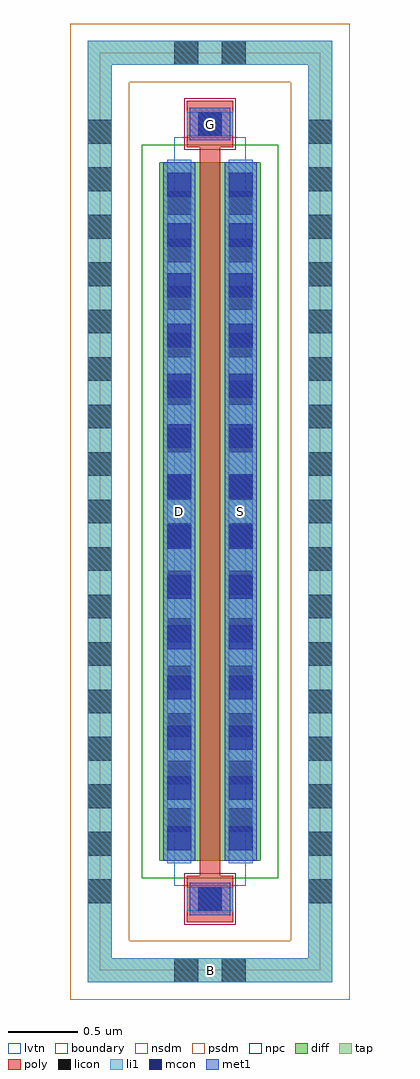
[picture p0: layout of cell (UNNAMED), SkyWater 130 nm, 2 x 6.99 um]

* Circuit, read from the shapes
.subckt (UNNAMED) B D G S
XM1 S G D B sky130_fd_pr__nfet_01v8_lvt w=5 l=0.15
.ends

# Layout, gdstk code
import gdstk
lib = gdstk.Library(unit=1e-6, precision=1e-09)
def R(c, l, rs):  # rectangles x0, y0, x1, y1
    for r in rs: c.add(gdstk.rectangle(r[:2], r[2:], *l))
def A(c, l, x, y, w, h, nx, ny, dx, dy):  # array of equal rectangles
    R(c, l, [(x+i*dx, y+j*dy, x+i*dx+w, y+j*dy+h) for i in range(nx) for j in range(ny)])
diff = (65, 20)
tap = (65, 44)
poly = (66, 20)
licon = (66, 44)
li1 = (67, 20)
mcon = (67, 44)
met1 = (68, 20)
nsdm = (93, 44)
psdm = (94, 20)
npc = (95, 20)
lvtn = (125, 44)
boundary = (235, 4)

c__unnamed_ = lib.new_cell('(UNNAMED)')
R(c__unnamed_, diff, [(-0.365,-2.5,0.365,2.5)])
R(c__unnamed_, tap, [(-0.875,-3.37,0.875,-3.2), (-0.875,-3.2,-0.705,3.2), (0.705,-3.2,0.875,3.2), (-0.875,3.2,0.875,3.37)])
R(c__unnamed_, poly, [(-0.165,-2.94,0.165,-2.61), (-0.075,-2.61,0.075,2.61), (-0.165,2.61,0.165,2.94)])
A(c__unnamed_, licon, -0.875, -2.805, 0.17, 0.17, 1, 17, 0, 0.34)
A(c__unnamed_, licon, 0.705, -2.805, 0.17, 0.17, 1, 17, 0, 0.34)
A(c__unnamed_, licon, -0.305, -2.295, 0.17, 0.17, 1, 14, 0, 0.34)
A(c__unnamed_, licon, 0.135, -2.295, 0.17, 0.17, 1, 14, 0, 0.34)
R(c__unnamed_, licon, [(-0.255,-3.37,-0.085,-3.2), (0.085,-3.37,0.255,-3.2), (-0.085,-2.86,0.085,-2.69), (-0.085,2.69,0.085,2.86), (-0.255,3.2,-0.085,3.37), (0.085,3.2,0.255,3.37)])
R(c__unnamed_, li1, [(-0.875,-3.37,0.875,-3.2), (-0.875,-3.2,-0.705,3.2), (0.705,-3.2,0.875,3.2), (-0.165,-2.86,0.165,-2.69), (-0.305,-2.52,-0.135,2.52), (0.135,-2.52,0.305,2.52), (-0.165,2.69,0.165,2.86), (-0.875,3.2,0.875,3.37)])
A(c__unnamed_, mcon, -0.305, -2.425, 0.17, 0.17, 1, 14, 0, 0.36)
A(c__unnamed_, mcon, 0.135, -2.425, 0.17, 0.17, 1, 14, 0, 0.36)
R(c__unnamed_, mcon, [(-0.085,-2.86,0.085,-2.69), (-0.085,2.69,0.085,2.86)])
R(c__unnamed_, met1, [(-0.145,-2.89,0.145,-2.66), (-0.335,-2.5,-0.105,2.5), (0.105,-2.5,0.335,2.5), (-0.145,2.66,0.145,2.89)])
R(c__unnamed_, nsdm, [(-0.49,-2.625,0.49,2.625)])
R(c__unnamed_, psdm, [(-1,-3.495,1,-3.075), (-1,-3.075,-0.58,3.075), (0.58,-3.075,1,3.075), (-1,3.075,1,3.495)])
R(c__unnamed_, npc, [(-0.185,-2.96,0.185,-2.59), (-0.185,2.59,0.185,2.96)])
R(c__unnamed_, lvtn, [(-0.255,-2.68,0.255,2.68)])
R(c__unnamed_, boundary, [(-0.79,-3.285,0.79,3.285)])
c__unnamed_.add(gdstk.Label('B', (0,-3.285), layer=67, texttype=5))
c__unnamed_.add(gdstk.Label('D', (-0.22,0), layer=67, texttype=5))
c__unnamed_.add(gdstk.Label('S', (0.22,0), layer=67, texttype=5))
c__unnamed_.add(gdstk.Label('G', (0,2.775), layer=67, texttype=5))

lib.write_gds('_UNNAMED_.gds')
